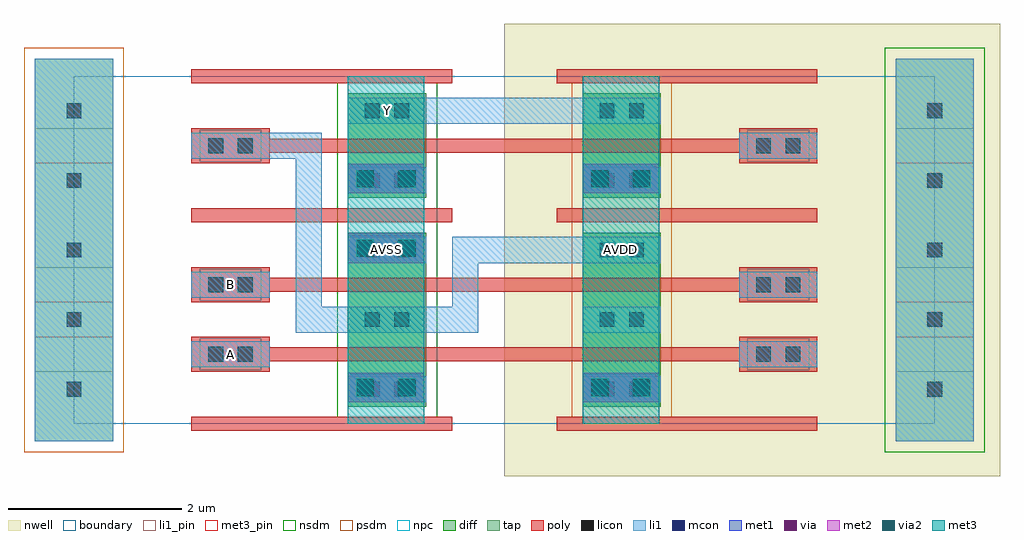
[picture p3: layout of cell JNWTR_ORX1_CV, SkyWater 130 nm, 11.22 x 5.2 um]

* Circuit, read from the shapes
.subckt JNWTR_ORX1_CV A AVDD AVSS B Y
XM1 JNWTR_IVX1_CV_0/A A AVSS JNWTR_IVX1_CV_0/JNWTR_NCHDL_0/B sky130_fd_pr__nfet_01v8 w=0.9 l=0.16
XM2 AVSS B JNWTR_IVX1_CV_0/A JNWTR_IVX1_CV_0/JNWTR_NCHDL_0/B sky130_fd_pr__nfet_01v8 w=0.9 l=0.16
XM3 Y JNWTR_IVX1_CV_0/A AVSS JNWTR_IVX1_CV_0/JNWTR_NCHDL_0/B sky130_fd_pr__nfet_01v8 w=0.9 l=0.16
XM4 JNWTR_NRX1_CV_1/JNWTR_PCHDL_2/D A AVDD JNWTR_IVX1_CV_0/JNWTR_PCHDL_1/B sky130_fd_pr__pfet_01v8 w=0.9 l=0.16
XM5 JNWTR_IVX1_CV_0/A B JNWTR_NRX1_CV_1/JNWTR_PCHDL_2/D JNWTR_IVX1_CV_0/JNWTR_PCHDL_1/B sky130_fd_pr__pfet_01v8 w=0.9 l=0.16
XM6 Y JNWTR_IVX1_CV_0/A AVDD JNWTR_IVX1_CV_0/JNWTR_PCHDL_1/B sky130_fd_pr__pfet_01v8 w=0.9 l=0.16
.ends

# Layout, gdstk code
import gdstk
lib = gdstk.Library(unit=1e-6, precision=1e-09)
def R(c, l, rs):  # rectangles x0, y0, x1, y1
    for r in rs: c.add(gdstk.rectangle(r[:2], r[2:], *l))
def A(c, l, x, y, w, h, nx, ny, dx, dy):  # array of equal rectangles
    R(c, l, [(x+i*dx, y+j*dy, x+i*dx+w, y+j*dy+h) for i in range(nx) for j in range(ny)])
nwell = (64, 20)
diff = (65, 20)
tap = (65, 44)
poly = (66, 20)
licon = (66, 44)
li1_pin = (67, 16)
li1 = (67, 20)
mcon = (67, 44)
met1 = (68, 20)
via = (68, 44)
met2 = (69, 20)
via2 = (69, 44)
met3_pin = (70, 16)
met3 = (70, 20)
nsdm = (93, 44)
psdm = (94, 20)
npc = (95, 20)
boundary = (235, 4)

jnwtr_nchdl = lib.new_cell('JNWTR_NCHDL')
R(jnwtr_nchdl, diff, [(3.15,0.2,4.05,1.4)])
R(jnwtr_nchdl, tap, [(-0.45,-0.2,0.45,1.8)])
A(jnwtr_nchdl, poly, 1.35, -0.08, 3, 0.16, 1, 3, 0, 0.8)
R(jnwtr_nchdl, poly, [(1.35,0.6,2.25,0.72), (1.35,0.88,2.25,1)])
R(jnwtr_nchdl, licon, [(-0.085,0.315,0.085,0.485), (3.345,0.315,3.515,0.485), (3.685,0.315,3.855,0.485), (1.545,0.715,1.715,0.885), (1.885,0.715,2.055,0.885), (-0.085,1.115,0.085,1.285), (3.345,1.115,3.515,1.285), (3.685,1.115,3.855,1.285)])
R(jnwtr_nchdl, li1_pin, [(3.15,0.25,4.05,0.55), (-0.45,0.6,0.45,1), (1.35,0.65,2.25,0.95), (3.15,1.05,4.05,1.35)])
R(jnwtr_nchdl, li1, [(-0.45,-0.2,0.45,1.8), (3.15,0.25,4.05,0.55), (1.35,0.65,2.25,0.95), (3.15,1.05,4.05,1.35)])
R(jnwtr_nchdl, nsdm, [(3.025,0.075,4.175,1.525)])
R(jnwtr_nchdl, psdm, [(-0.575,-0.325,0.575,1.925)])
R(jnwtr_nchdl, npc, [(1.445,0.615,2.155,0.985)])
R(jnwtr_nchdl, boundary, [(0,0,4.95,1.6)])
jnwtr_nchdl.add(gdstk.Label('D', (3.6,1.2), layer=67, texttype=5))
jnwtr_nchdl.add(gdstk.Label('G', (1.8,0.8), layer=67, texttype=5))
jnwtr_nchdl.add(gdstk.Label('S', (3.6,0.4), layer=67, texttype=5))
jnwtr_nchdl.add(gdstk.Label('B', (0,0.8), layer=67, texttype=5))

jnwtr_pchdl = lib.new_cell('JNWTR_PCHDL')
R(jnwtr_pchdl, nwell, [(0,-0.6,5.7,2.2)])
R(jnwtr_pchdl, diff, [(0.9,0.2,1.8,1.4)])
R(jnwtr_pchdl, tap, [(4.5,-0.2,5.4,1.8)])
A(jnwtr_pchdl, poly, 0.6, -0.08, 3, 0.16, 1, 3, 0, 0.8)
R(jnwtr_pchdl, poly, [(2.7,0.6,3.6,0.72), (2.7,0.88,3.6,1)])
R(jnwtr_pchdl, licon, [(1.095,0.315,1.265,0.485), (1.435,0.315,1.605,0.485), (4.865,0.315,5.035,0.485), (2.895,0.715,3.065,0.885), (3.235,0.715,3.405,0.885), (1.095,1.115,1.265,1.285), (1.435,1.115,1.605,1.285), (4.865,1.115,5.035,1.285)])
R(jnwtr_pchdl, li1_pin, [(0.9,0.25,1.8,0.55), (4.5,0.6,5.4,1), (2.7,0.65,3.6,0.95), (0.9,1.05,1.8,1.35)])
R(jnwtr_pchdl, li1, [(4.5,-0.2,5.4,1.8), (0.9,0.25,1.8,0.55), (2.7,0.65,3.6,0.95), (0.9,1.05,1.8,1.35)])
R(jnwtr_pchdl, nsdm, [(4.375,-0.325,5.525,1.925)])
R(jnwtr_pchdl, psdm, [(0.775,0.075,1.925,1.525)])
R(jnwtr_pchdl, npc, [(2.795,0.615,3.505,0.985)])
R(jnwtr_pchdl, boundary, [(0,0,4.95,1.6)])
jnwtr_pchdl.add(gdstk.Label('D', (1.35,1.2), layer=67, texttype=5))
jnwtr_pchdl.add(gdstk.Label('G', (3.15,0.8), layer=67, texttype=5))
jnwtr_pchdl.add(gdstk.Label('S', (1.35,0.4), layer=67, texttype=5))
jnwtr_pchdl.add(gdstk.Label('B', (4.95,0.8), layer=67, texttype=5))

jnwtr_cut_m1m4_2x1 = lib.new_cell('JNWTR_cut_M1M4_2x1')
R(jnwtr_cut_m1m4_2x1, li1, [(0,0,0.84,0.32)])
R(jnwtr_cut_m1m4_2x1, mcon, [(0.105,0.075,0.275,0.245), (0.565,0.075,0.735,0.245)])
R(jnwtr_cut_m1m4_2x1, met1, [(0,0,0.88,0.34)])
R(jnwtr_cut_m1m4_2x1, via, [(0.125,0.095,0.275,0.245), (0.605,0.095,0.755,0.245)])
R(jnwtr_cut_m1m4_2x1, met2, [(0,0,0.88,0.34)])
R(jnwtr_cut_m1m4_2x1, via2, [(0.1,0.07,0.3,0.27), (0.58,0.07,0.78,0.27)])
R(jnwtr_cut_m1m4_2x1, met3, [(0,0,0.88,0.34)])
R(jnwtr_cut_m1m4_2x1, boundary, [(0,0,0.88,0.34)])

jnwtr_ivx1_cv = lib.new_cell('JNWTR_IVX1_CV')
R(jnwtr_ivx1_cv, poly, [(1.35,0.72,8.55,0.88)])
R(jnwtr_ivx1_cv, li1_pin, [(1.35,0.65,2.25,0.95), (3.15,1.05,4.05,1.35)])
R(jnwtr_ivx1_cv, li1, [(1.35,0.65,2.25,0.95), (3.15,1.05,6.3,1.35)])
R(jnwtr_ivx1_cv, met3_pin, [(3.15,0,4.03,1.6), (5.85,0,6.73,1.6)])
R(jnwtr_ivx1_cv, met3, [(3.15,0,4.03,1.6), (5.85,0,6.73,1.6)])
R(jnwtr_ivx1_cv, boundary, [(0,0,9.9,1.6)])
jnwtr_ivx1_cv.add(gdstk.Reference(jnwtr_nchdl, (0,0)))
jnwtr_ivx1_cv.add(gdstk.Reference(jnwtr_pchdl, (4.95,0)))
jnwtr_ivx1_cv.add(gdstk.Reference(jnwtr_cut_m1m4_2x1, (5.85,0.25)))
jnwtr_ivx1_cv.add(gdstk.Reference(jnwtr_cut_m1m4_2x1, (3.15,0.25)))
jnwtr_ivx1_cv.add(gdstk.Label('A', (1.8,0.8), layer=67, texttype=5))
jnwtr_ivx1_cv.add(gdstk.Label('Y', (3.6,1.2), layer=67, texttype=5))
jnwtr_ivx1_cv.add(gdstk.Label('AVDD', (6.29,0.8), layer=70, texttype=5))
jnwtr_ivx1_cv.add(gdstk.Label('AVSS', (3.59,0.8), layer=70, texttype=5))

jnwtr_nrx1_cv = lib.new_cell('JNWTR_NRX1_CV')
R(jnwtr_nrx1_cv, poly, [(1.35,0.72,8.55,0.88), (1.35,1.52,8.55,1.68)])
R(jnwtr_nrx1_cv, li1_pin, [(1.35,0.65,2.25,0.95), (3.15,1.05,4.05,1.35), (1.35,1.45,2.25,1.75)])
R(jnwtr_nrx1_cv, li1, [(1.35,0.65,2.25,0.95), (3.15,1.05,4.65,1.35), (6.15,1.05,6.45,1.35), (4.35,1.35,4.65,1.85), (1.35,1.45,2.25,1.75), (4.35,1.85,6.3,2.15)])
R(jnwtr_nrx1_cv, met3_pin, [(3.15,0,4.03,2.4), (5.85,0,6.73,2.4)])
R(jnwtr_nrx1_cv, met3, [(3.15,0,4.03,2.4), (5.85,0,6.73,2.4)])
R(jnwtr_nrx1_cv, boundary, [(0,0,9.9,2.4)])
jnwtr_nrx1_cv.add(gdstk.Reference(jnwtr_nchdl, (0,0)))
jnwtr_nrx1_cv.add(gdstk.Reference(jnwtr_nchdl, (0,0.8)))
jnwtr_nrx1_cv.add(gdstk.Reference(jnwtr_pchdl, (4.95,0)))
jnwtr_nrx1_cv.add(gdstk.Reference(jnwtr_pchdl, (4.95,0.8)))
jnwtr_nrx1_cv.add(gdstk.Reference(jnwtr_cut_m1m4_2x1, (5.85,0.25)))
jnwtr_nrx1_cv.add(gdstk.Reference(jnwtr_cut_m1m4_2x1, (3.15,0.25)))
jnwtr_nrx1_cv.add(gdstk.Reference(jnwtr_cut_m1m4_2x1, (3.15,1.85)))
jnwtr_nrx1_cv.add(gdstk.Label('A', (1.8,0.8), layer=67, texttype=5))
jnwtr_nrx1_cv.add(gdstk.Label('B', (1.8,1.6), layer=67, texttype=5))
jnwtr_nrx1_cv.add(gdstk.Label('Y', (3.6,1.2), layer=67, texttype=5))
jnwtr_nrx1_cv.add(gdstk.Label('AVDD', (6.29,1.2), layer=70, texttype=5))
jnwtr_nrx1_cv.add(gdstk.Label('AVSS', (3.59,1.2), layer=70, texttype=5))

jnwtr_orx1_cv = lib.new_cell('JNWTR_ORX1_CV')
R(jnwtr_orx1_cv, li1_pin, [(1.35,0.65,2.25,0.95), (1.35,1.45,2.25,1.75), (3.15,3.45,4.05,3.75)])
R(jnwtr_orx1_cv, li1, [(1.35,0.65,2.25,0.95), (2.55,1.05,3.6,1.35), (2.55,1.35,2.85,3.05), (1.35,1.45,2.25,1.75), (1.8,3.05,2.85,3.35), (3.15,3.45,4.05,3.75)])
R(jnwtr_orx1_cv, met3_pin, [(3.15,0,4.03,4), (5.85,0,6.73,4)])
R(jnwtr_orx1_cv, met3, [(3.15,0,4.03,4), (5.85,0,6.73,4)])
R(jnwtr_orx1_cv, nsdm, [(3.025,2.325,4.175,2.475)])
R(jnwtr_orx1_cv, psdm, [(5.725,2.325,6.875,2.475)])
R(jnwtr_orx1_cv, boundary, [(0,0,9.9,4)])
jnwtr_orx1_cv.add(gdstk.Reference(jnwtr_ivx1_cv, (0,2.4)))
jnwtr_orx1_cv.add(gdstk.Reference(jnwtr_nrx1_cv, (0,0)))
jnwtr_orx1_cv.add(gdstk.Label('A', (1.8,0.8), layer=67, texttype=5))
jnwtr_orx1_cv.add(gdstk.Label('B', (1.8,1.6), layer=67, texttype=5))
jnwtr_orx1_cv.add(gdstk.Label('Y', (3.6,3.6), layer=67, texttype=5))
jnwtr_orx1_cv.add(gdstk.Label('AVDD', (6.29,2), layer=70, texttype=5))
jnwtr_orx1_cv.add(gdstk.Label('AVSS', (3.59,2), layer=70, texttype=5))

lib.write_gds('JNWTR_ORX1_CV.gds')
